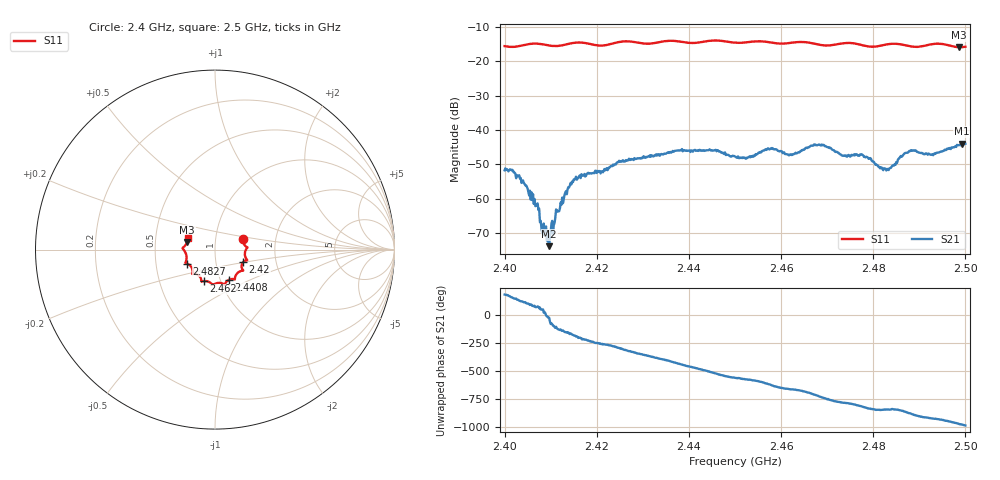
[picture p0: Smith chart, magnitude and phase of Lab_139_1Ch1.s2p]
# Hz S RI R 50
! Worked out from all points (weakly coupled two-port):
!   601 points, 2.4 GHz to 2.5 GHz, reference 50 ohm
!   highest |S21| = -43.91 dB at 2.4992 GHz (marker M1); lowest = -73.8 dB at 2.4097 GHz (marker M2)
!   lowest |S11| = -15.9 dB at 2.4987 GHz (marker M3), VSWR 1.38, Z = 36.5 + j3.21 ohm
!   |S11| at or under -10 dB: start of sweep to end of sweep
!   S12 and S22 are empty: the file has one direction only
!   S11 on the Smith chart (normalised r, x): 2.4 GHz: 1.35, +0.17; 2.42 GHz: 1.36, -0.19; 2.4408 GHz: 1.10, -0.38; 2.462 GHz: 0.83, -0.30; 2.4827 GHz: 0.72, -0.12; 2.5 GHz: 0.73, +0.09
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2.4e9  0.1552 0.0615  -0.0026 3.29e-05  0 0  0 0
2.4045e9  0.1742 0.0159  -0.000559 0.00146  0 0  0 0
2.407e9  0.181 0.0117  0.000296 0.000773  0 0  0 0
2.408167e9  0.1778 0.00832  0.000226 0.000228  0 0  0 0
2.409667e9  0.1706 -0.00287  0.000183 -9.09e-05  0 0  0 0
2.4135e9  0.1718 -0.0467  -0.00106 -0.000493  0 0  0 0
2.416667e9  0.1787 -0.0589  -0.00201 0.00107  0 0  0 0
2.42e9  0.1571 -0.0692  -0.000789 0.00224  0 0  0 0
2.433333e9  0.112 -0.1528  0.0038 -0.00202  0 0  0 0
2.440833e9  0.0781 -0.1684  -0.00144 -0.00464  0 0  0 0
2.45e9  0.0272 -0.1854  -0.00386 0.00145  0 0  0 0
2.457667e9  -0.0212 -0.1881  -0.000873 0.00529  0 0  0 0
2.462e9  -0.0621 -0.1754  0.00236 0.00377  0 0  0 0
2.466667e9  -0.0766 -0.1681  0.00566 0.00186  0 0  0 0
2.477667e9  -0.1251 -0.1182  -0.000453 -0.00434  0 0  0 0
2.482667e9  -0.1575 -0.0775  -0.00149 -0.00231  0 0  0 0
2.483333e9  -0.1615 -0.0763  -0.00135 -0.00224  0 0  0 0
2.488167e9  -0.1583 -0.047  -0.00473 -0.0019  0 0  0 0
2.493e9  -0.1793 0.00437  -0.00399 0.00163  0 0  0 0
2.498667e9  -0.1549 0.0428  -0.00209 0.00565  0 0  0 0
2.499167e9  -0.1531 0.0503  -0.00165 0.00616  0 0  0 0
2.5e9  -0.1514 0.0626  -0.000731 0.0063  0 0  0 0
